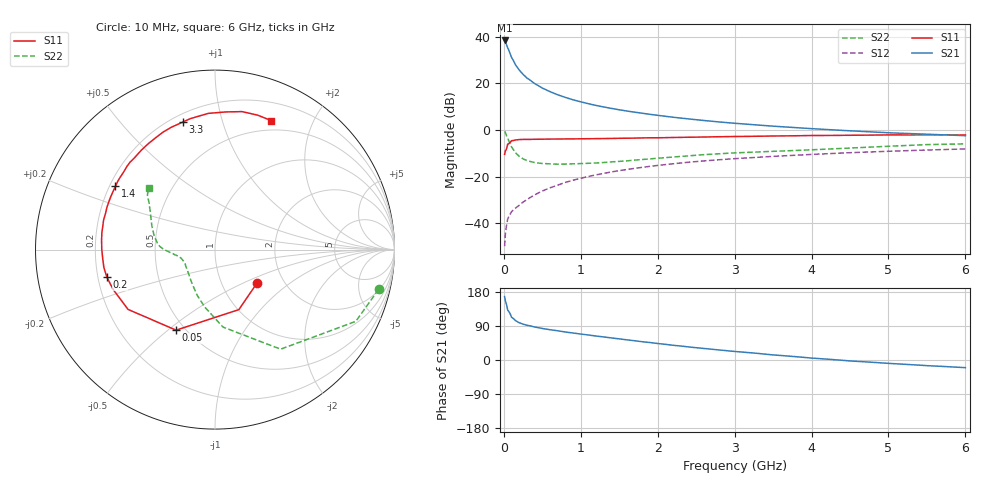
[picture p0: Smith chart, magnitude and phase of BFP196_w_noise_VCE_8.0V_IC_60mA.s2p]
! Infineon Technologies  Discrete & RF Semiconductors
! BFP196
! VCE =  8.0 V,  IC =  60 mA
! Common Emitter S-Parameters:  Jan 2017
# GHz  S  MA  R  50
!  f  S11  S21  S12  S22
! GHz  MAG  ANG  MAG  ANG  MAG  ANG  MAG  ANG
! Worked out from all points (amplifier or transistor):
!   77 points, 10 MHz to 6 GHz, reference 50 ohm
!   highest |S21| = 38.4 dB at 10 MHz (marker M1)
!   |S21| within 3 dB of that: start of sweep to 48.2 MHz
!   unconditionally stable (mu >= 1): 522 MHz to 2.398 GHz
!   at 130 MHz: K = 0.63, MSG = 31.8 dB, |S12| = -34.2 dB
!   at 2.2 GHz: K = 1.01, MAG = 9.4 dB, |S12| = -14.5 dB
!   at 6 GHz: K = 0.94, MSG = 2.8 dB, |S12| = -8.1 dB
!   lowest NFmin = 1.56 dB at 450 MHz
!   S11 on the Smith chart (normalised r, x): 10 MHz: 1.47, -0.60; 50 MHz: 0.45, -0.53; 200 MHz: 0.24, -0.12; 1.4 GHz: 0.22, +0.28; 3.3 GHz: 0.24, +0.75; 6 GHz: 0.39, +1.45
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0.01  0.2991 -38.2  83.48 167.3  0.0032 78.2  0.9385 -13.6
0.02  0.3599 -68.3  79.47 156.2  0.0059 78.0  0.8805 -27.0
0.05  0.4985 -115.8  58.12 131.8  0.0122 58.0  0.6645 -56.6
0.1  0.5881 -145.5  36.06 112.8  0.0176 55.8  0.434 -84.1
0.15  0.6095 -158.7  25.29 104.0  0.0209 54.8  0.3259 -100.0
0.2  0.6216 -165.7  19.36 98.4  0.0241 59.8  0.2726 -111.5
0.25  0.6271 -170.8  15.61 94.5  0.0283 60.3  0.2399 -119.9
0.3  0.6273 -174.7  13.07 91.7  0.0319 62.4  0.2202 -127.2
0.4  0.6309 179.9  9.902 87.0  0.0403 65.4  0.1998 -137.2
0.5  0.6342 175.2  7.935 83.2  0.0488 66.6  0.1907 -144.6
0.6  0.6374 171.4  6.646 79.9  0.0573 66.9  0.1875 -150.2
0.7  0.6386 168.3  5.7 77.1  0.0653 67.3  0.1841 -154.2
0.9  0.6425 161.8  4.44 71.2  0.0834 65.9  0.1875 -160.0
1.1  0.6487 156.0  3.661 66.0  0.1004 64.7  0.1926 -164.2
1.4  0.6576 147.5  2.902 58.2  0.1256 61.6  0.2064 -169.2
1.7  0.6682 139.4  2.409 50.8  0.1498 57.6  0.2251 -172.6
2.1  0.6839 129.1  1.967 41.3  0.1804 52.2  0.2547 -176.9
3.1  0.726 107.9  1.353 20.9  0.2474 39.0  0.3268 172.5
3.3  0.7328 104.2  1.277 17.4  0.2589 36.5  0.3369 169.8
4.1  0.7608 91.3  1.045 3.7  0.3036 26.8  0.3815 157.8
5.1  0.7832 77.6  0.858 -10.0  0.353 15.2  0.4542 144.2
6  0.7841 66.5  0.754 -20.2  0.3915 5.2  0.5033 137.2
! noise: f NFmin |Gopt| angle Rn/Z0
0.45  1.56  0.41  -174  0.06
0.9  1.72  0.48  -162  0.08
1.9  2.54  0.68  -132  0.35
2.4  2.93  0.7  -119  0.72
